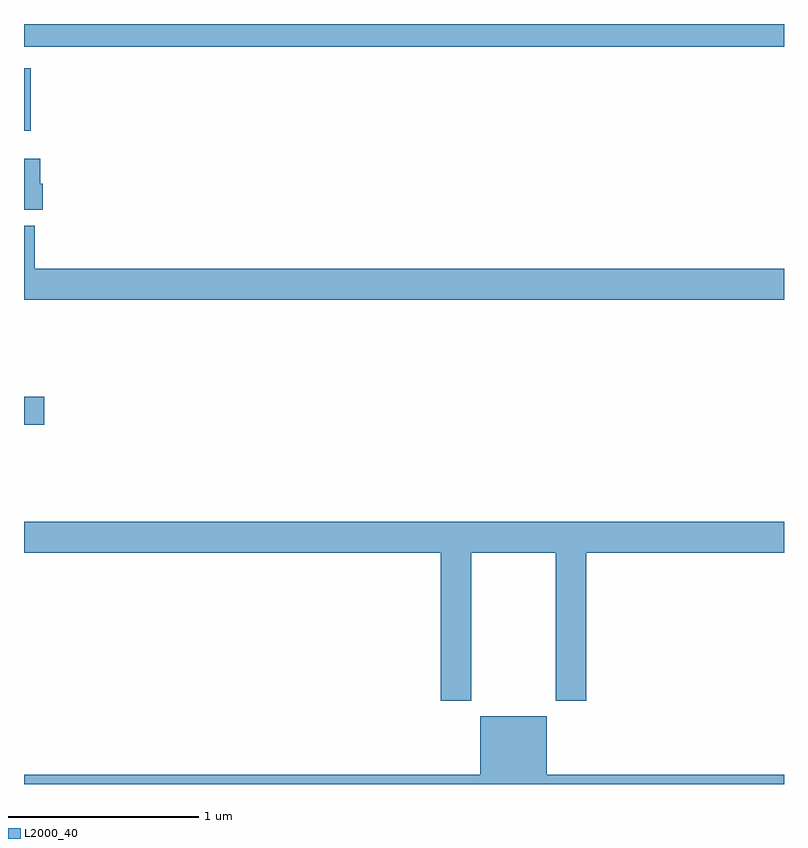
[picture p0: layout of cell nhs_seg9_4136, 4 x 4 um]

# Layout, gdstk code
import gdstk
lib = gdstk.Library(unit=1e-6, precision=1e-09)
def R(c, l, rs):  # rectangles x0, y0, x1, y1
    for r in rs: c.add(gdstk.rectangle(r[:2], r[2:], *l))
def P(c, l, *ps):  # polygons
    for p in ps: c.add(gdstk.Polygon(p, *l))
L2000_40 = (2000, 40)

nhs_seg9_4136 = lib.new_cell('nhs_seg9_4136')
R(nhs_seg9_4136, L2000_40, [(347,1234.391,347.107,1234.538), (347,1235.939,347.035,1236.268), (347,1236.38,351,1236.5)])
P(nhs_seg9_4136, L2000_40, [(347.099,1235.658),(347.086,1235.658),(347.086,1235.791),(347,1235.791),(347,1235.522),(347.099,1235.522)],
  [(351,1235.212),(347.057,1235.212),(347.057,1235.437),(347,1235.437),(347,1235.048),(351,1235.048)],
  [(349.353,1233.716),(349.798,1233.716),(349.798,1232.937),(349.958,1232.937),(349.958,1233.716),(351,1233.716),(351,1233.88),(347,1233.88),(347,1233.716),(349.193,1233.716),(349.193,1232.937),(349.353,1232.937)],
  [(351,1232.548),(349.75,1232.548),(349.75,1232.857),(349.4,1232.857),(349.4,1232.548),(347,1232.548),(347,1232.5),(351,1232.5)])

lib.write_gds('nhs_seg9_4136.gds')
